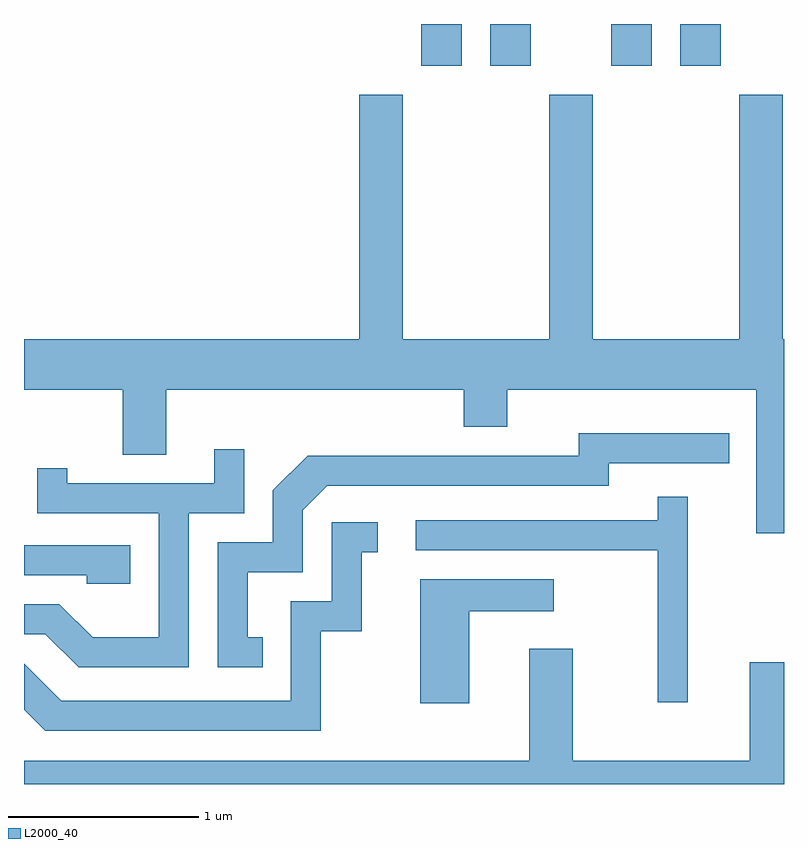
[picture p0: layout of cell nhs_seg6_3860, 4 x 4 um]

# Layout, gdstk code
import gdstk
lib = gdstk.Library(unit=1e-6, precision=1e-09)
def R(c, l, rs):  # rectangles x0, y0, x1, y1
    for r in rs: c.add(gdstk.rectangle(r[:2], r[2:], *l))
def P(c, l, *ps):  # polygons
    for p in ps: c.add(gdstk.Polygon(p, *l))
L2000_40 = (2000, 40)

nhs_seg6_3860 = lib.new_cell('nhs_seg6_3860')
R(nhs_seg6_3860, L2000_40, [(303.701,1573.941,303.914,1574.162), (304.066,1573.941,304.279,1574.162), (304.701,1573.941,304.914,1574.162), (305.066,1573.941,305.279,1574.162)])
P(nhs_seg6_3860, L2000_40, [(305.611,1572.504),(305.604,1572.504),(305.604,1573.789),(305.376,1573.789),(305.376,1572.504),(304.604,1572.504),(304.604,1573.789),(304.376,1573.789),(304.376,1572.504),(303.604,1572.504),(303.604,1573.789),(303.376,1573.789),(303.376,1572.504),(301.611,1572.504),(301.611,1572.236),(302.131,1572.236),(302.131,1571.896),(302.359,1571.896),(302.359,1572.236),(303.926,1572.236),(303.926,1572.041),(304.154,1572.041),(304.154,1572.236),(305.466,1572.236),(305.466,1571.483),(305.611,1571.483)],
  [(302.868,1570.934),(302.789,1570.934),(302.789,1571.276),(303.079,1571.276),(303.079,1571.604),(303.207,1571.731),(304.689,1571.731),(304.689,1571.851),(305.323,1571.851),(305.323,1572.009),(304.531,1572.009),(304.531,1571.889),(303.104,1571.889),(302.921,1571.707),(302.921,1571.434),(302.631,1571.434),(302.631,1570.776),(302.868,1570.776)],
  [(302.479,1571.586),(302.769,1571.586),(302.769,1571.923),(302.611,1571.923),(302.611,1571.744),(301.839,1571.744),(301.839,1571.823),(301.681,1571.823),(301.681,1571.586),(302.321,1571.586),(302.321,1570.934),(301.972,1570.934),(301.797,1571.109),(301.611,1571.109),(301.611,1570.951),(301.724,1570.951),(301.899,1570.776),(302.479,1570.776)],
  [(305.104,1571.673),(304.946,1571.673),(304.946,1571.549),(303.673,1571.549),(303.673,1571.391),(304.946,1571.391),(304.946,1570.593),(305.104,1570.593)],
  [(303.174,1570.966),(303.389,1570.966),(303.389,1571.381),(303.473,1571.381),(303.473,1571.539),(303.231,1571.539),(303.231,1571.124),(303.016,1571.124),(303.016,1570.599),(301.807,1570.599),(301.611,1570.795),(301.611,1570.554),(301.724,1570.441),(303.174,1570.441)],
  [(302.169,1571.419),(301.611,1571.419),(301.611,1571.261),(301.941,1571.261),(301.941,1571.216),(302.169,1571.216)],
  [(303.954,1571.071),(304.398,1571.071),(304.398,1571.239),(303.696,1571.239),(303.696,1570.586),(303.954,1570.586)],
  [(305.611,1570.804),(305.431,1570.804),(305.431,1570.284),(304.499,1570.284),(304.499,1570.874),(304.271,1570.874),(304.271,1570.284),(301.611,1570.284),(301.611,1570.162),(305.611,1570.162)])

lib.write_gds('nhs_seg6_3860.gds')
